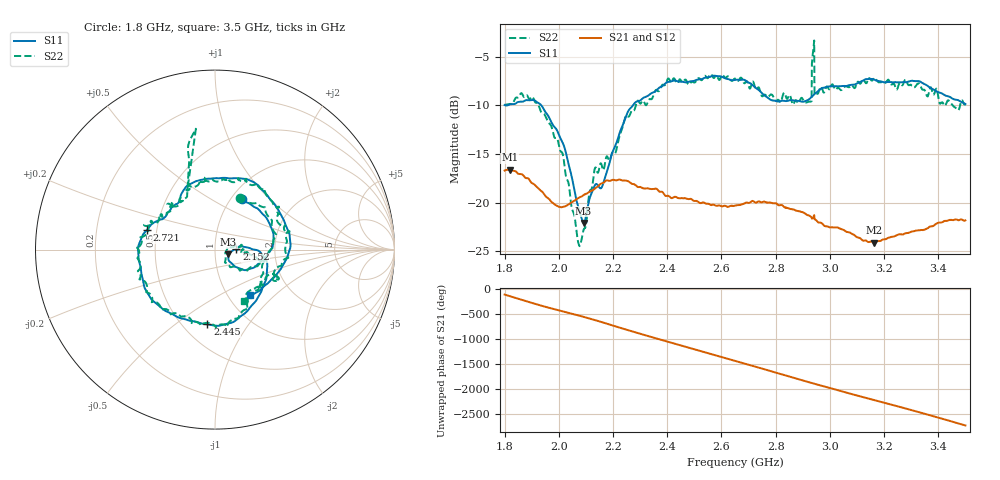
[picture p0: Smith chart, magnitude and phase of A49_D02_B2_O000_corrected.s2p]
! Created with skrf 1.9.0 (http://scikit-rf.org).
# Hz S RI R 50.0
!freq ReS11 ImS11 ReS21 ImS21 ReS12 ImS12 ReS22 ImS22
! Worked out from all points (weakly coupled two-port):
!   1601 points, 1.8 GHz to 3.5 GHz, reference 50 ohm
!   highest |S21| = -16.60 dB at 1.819 GHz (marker M1); lowest = -24.1 dB at 3.163 GHz (marker M2)
!   lowest |S11| = -22.1 dB at 2.091 GHz (marker M3), VSWR 1.17, Z = 57.9 - j3.18 ohm
!   |S11| at or under -10 dB: 1.804314 GHz to 1.809127 GHz (4.813 MHz wide, 0.266 % of centre); 1.936 GHz to 2.273 GHz (337.5 MHz wide, 16 % of centre)
!   |S22| runs from -24.5 to -3.3 dB; largest |S21 - S12| = 0.0025
!   S11 on the Smith chart (normalised r, x): 1.8 GHz: 1.13, +0.70; 2.152 GHz: 1.27, +0.01; 2.445 GHz: 0.65, -0.66; 2.721 GHz: 0.44, +0.12; 3.5 GHz: 1.26, -0.71
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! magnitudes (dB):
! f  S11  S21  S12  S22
! 1.8 GHz  -10.0  -16.7  -16.7  -9.9
! 1.819 GHz  -9.9  -16.6  -16.6  -9.9
! 1.902 GHz  -9.4  -18.0  -18.0  -9.1
! 1.967 GHz  -11.4  -19.7  -19.8  -11.9
! 2.02 GHz  -14.2  -20.4  -20.4  -16.0
! 2.071 GHz  -20.3  -19.5  -19.6  -24.0
! 2.084 GHz  -21.6  -19.4  -19.3  -23.8
! 2.091 GHz  -22.1  -19.2  -19.3  -22.8
! 2.13 GHz  -18.3  -18.6  -18.6  -16.8
! 2.152 GHz  -18.5  -18.1  -18.1  -16.1
! 2.257 GHz  -10.5  -17.8  -17.8  -11.2
! 2.367 GHz  -8.2  -18.8  -18.7  -8.5
! 2.445 GHz  -7.6  -19.5  -19.5  -7.3
! 2.65 GHz  -7.4  -20.3  -20.3  -7.2
! 2.721 GHz  -8.1  -19.9  -19.8  -7.9
! 2.921 GHz  -9.4  -21.3  -21.3  -9.6
! 2.934 GHz  -9.1  -21.6  -21.6  -5.7
! 2.942 GHz  -8.9  -21.3  -21.3  -3.3
! 2.952 GHz  -8.6  -21.9  -21.8  -8.8
! 3.163 GHz  -7.3  -24.1  -24.0  -7.2
! 3.217 GHz  -7.6  -23.6  -23.6  -7.4
! 3.5 GHz  -9.9  -21.8  -21.8  -9.7
